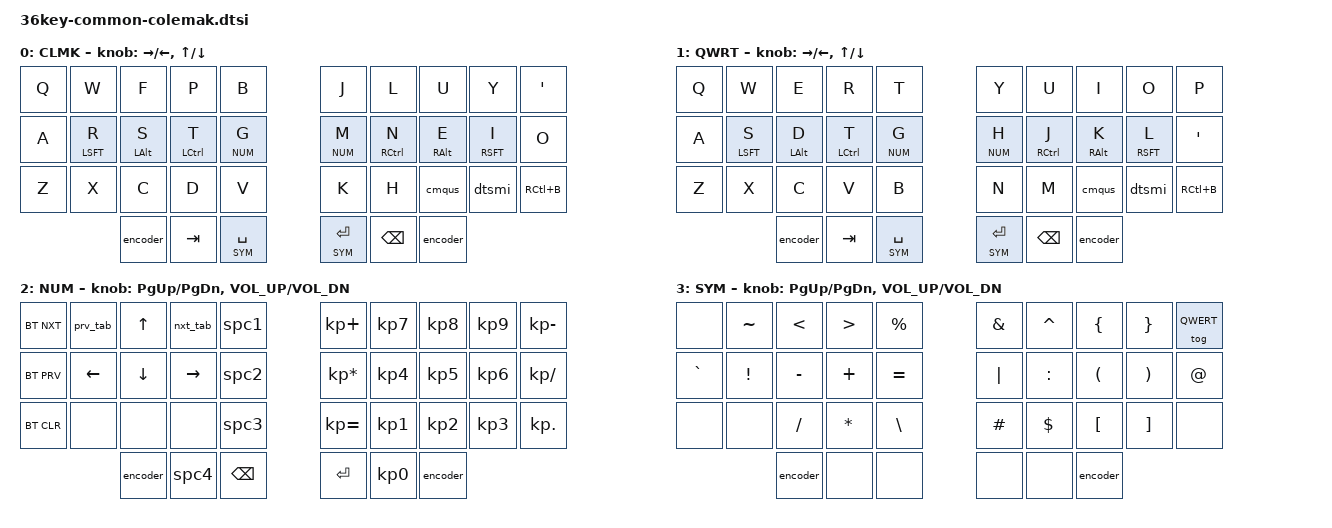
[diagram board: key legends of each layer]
#define DEFAULT 0
#define QWERT   1
#define NUM     2
#define SYM     3

&mt {
   flavor = "tap-preferred";
   tapping_term_ms = <200>;
};

/ { 
#include "key-common.dtsi"

    keymap {
        compatible = "zmk,keymap";
                
     		default_layer {
            label = "CLMK";
        		bindings = <
            		&kp Q &kp W      &kp F      &kp P      &kp B        &kp J     &kp L      &kp U      &kp Y      &kp SQT
             		&kp A &mt LSFT R &mt LALT S &mt LCTL T &lt NUM G    &lt NUM M &mt RCTL N &mt RALT E &mt RSFT I &kp O
                &kp Z &kp X      &kp C      &kp D      &kp V        &kp K     &kp H      &cmqus     &dtsmi     &kp RC(B)
                    &encoder     &kp TAB    &lt SYM SPACE           &lt SYM RET      &kp BSPC   &encoder
             		>;
                sensor-bindings = <&inc_dec_kp RIGHT LEFT &inc_dec_kp UP DOWN>;
		    };

     		qwert_layer {
            label = "QWRT";
        		bindings = <
            		&kp Q &kp W      &kp E      &kp R      &kp T        &kp Y     &kp U      &kp I       &kp O       &kp P
             		&kp A &mt LSFT S &mt LALT D &mt LCTL T &lt NUM G    &lt NUM H &mt RCTL J &mt RALT K  &mt RSFT L  &kp SQT 
                &kp Z &kp X      &kp C      &kp V      &kp B        &kp N     &kp M      &cmqus      &dtsmi      &kp RC(B)
                    &encoder     &kp TAB    &lt SYM SPACE           &lt SYM RET    &kp BSPC   &encoder
             		>;
                sensor-bindings = <&inc_dec_kp RIGHT LEFT &inc_dec_kp UP DOWN>;
		    };

        number_layer {
            label = "NUM";
            bindings = <
                &bt BT_NXT  &prv_tab  &kp UP    &nxt_tab   &spc1      &kp KP_PLUS     &kp KP_N7 &kp KP_N8 &kp KP_N9 &kp KP_MINUS
                &bt BT_PRV  &kp LEFT  &kp DOWN  &kp RIGHT  &spc2      &kp KP_MULTIPLY &kp KP_N4 &kp KP_N5 &kp KP_N6 &kp KP_DIVIDE
                &bt BT_CLR  &none     &none     &none      &spc3      &kp KP_EQUAL    &kp KP_N1 &kp KP_N2 &kp KP_N3 &kp KP_DOT
                                      &encoder  &spc4      &kp BSPC      &kp RET         &kp KP_N0  &encoder
            >;
                  sensor-bindings = <&inc_dec_kp PG_UP PG_DN &inc_dec_kp C_VOL_UP C_VOL_DN>;
        };

        symbol_layer {
            label = "SYM";
            bindings = <
                &none     &kp TILDE &kp LT    &kp GT   &kp PRCNT   &kp AMPS &kp CARET &kp LBRC &kp RBRC &tog QWERT
                &kp GRAVE &kp EXCL  &kp MINUS &kp PLUS &kp EQUAL   &kp PIPE &kp COLON &kp LPAR &kp RPAR &kp AT
                &none     &none     &kp SLASH &kp STAR &kp BSLH    &kp HASH &kp DLLR  &kp LBKT &kp RBKT &none  
                                       &encoder  &none    &none    &none    &none  &encoder
            >;
                sensor-bindings = <&inc_dec_kp PG_UP PG_DN &inc_dec_kp C_VOL_UP C_VOL_DN>;
        };
        
   	};
};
